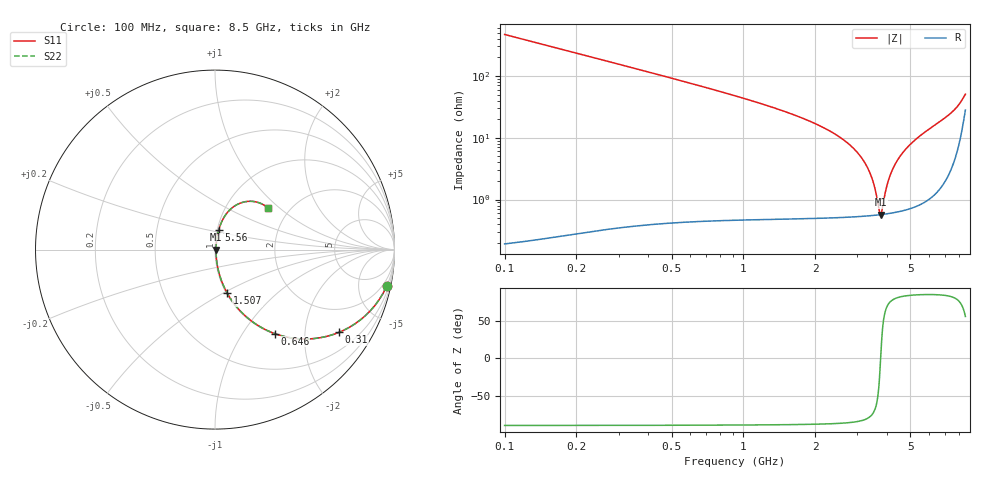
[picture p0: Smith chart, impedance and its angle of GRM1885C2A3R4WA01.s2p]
!Murata Part Number: GRM1885C2A3R4WA01
!These Parameters are Measured in Series Mode Connection
!Data Generated on Mar 30, 2021
!  o--ll--o
!Port1  Port2
!  o------o
!Operation Temp=25[degC], DC Bias Voltage=0[V]
!Freq. Start=100[MHz] Stop=9[GHz] 401[Steps]
# Hz S RI R 50
!Freq.(Hz) S11(Real) S11(Imag) S21(Real) S21(Imag) S12(Real) S12(Imag) S22(Real) S22(Imag)
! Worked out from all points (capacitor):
!   401 points, 100 MHz to 8.5 GHz, reference 50 ohm
!   read as one part in series: C = 3.4 pF near 142 MHz
!   lowest |Z| = 571 mohm at 3.754 GHz (marker M1)
!   series resonance near 3.754 GHz, so ESL is about 530 pH
!   S11 on the Smith chart (normalised r, x): 100 MHz: 1.00, -9.35; 310 MHz: 1.01, -3.00; 646 MHz: 1.01, -1.41; 1.507 GHz: 1.01, -0.52; 5.56 GHz: 1.02, +0.22; 8.5 GHz: 1.56, +0.84
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1e8  0.9562 -0.2044  0.0438 0.2044  0.0438 0.2044  0.9562 -0.2044
2.05e8  0.8378 -0.368  0.1622 0.368  0.1622 0.368  0.8378 -0.368
3.1e8  0.6914 -0.4607  0.3086 0.4607  0.3086 0.4607  0.6914 -0.4607
6.46e8  0.3316 -0.4676  0.6684 0.4676  0.6684 0.4676  0.3316 -0.4676
1.003e9  0.1609 -0.3621  0.8391 0.3621  0.8391 0.3621  0.1609 -0.3621
1.507e9  0.0679 -0.2425  0.9321 0.2425  0.9321 0.2425  0.0679 -0.2425
2.389e9  0.0186 -0.1151  0.9814 0.1151  0.9814 0.1151  0.0186 -0.1151
2.914e9  0.00937 -0.0641  0.9906 0.0641  0.9906 0.0641  0.00937 -0.0641
3.187e9  0.00708 -0.0414  0.9929 0.0414  0.9929 0.0414  0.00708 -0.0414
3.397e9  0.0061 -0.0253  0.9939 0.0253  0.9939 0.0253  0.0061 -0.0253
3.523e9  0.00579 -0.0161  0.9942 0.0161  0.9942 0.0161  0.00579 -0.0161
3.712e9  0.00566 -0.00285  0.9943 0.00285  0.9943 0.00285  0.00566 -0.00285
3.754e9  0.00568 1.96e-05  0.9943 -1.96e-05  0.9943 -1.96e-05  0.00568 1.96e-05
3.796e9  0.00571 0.00286  0.9943 -0.00286  0.9943 -0.00286  0.00571 0.00286
4.027e9  0.00621 0.0181  0.9938 -0.0181  0.9938 -0.0181  0.00621 0.0181
4.3e9  0.00739 0.0352  0.9926 -0.0352  0.9926 -0.0352  0.00739 0.0352
4.804e9  0.0111 0.0652  0.9889 -0.0652  0.9889 -0.0652  0.0111 0.0652
5.56e9  0.0203 0.1081  0.9797 -0.1081  0.9797 -0.1081  0.0203 0.1081
5.707e9  0.0227 0.1164  0.9773 -0.1164  0.9773 -0.1164  0.0227 0.1164
7.114e9  0.0652 0.2019  0.9348 -0.2019  0.9348 -0.2019  0.0652 0.2019
7.912e9  0.1411 0.2591  0.8589 -0.2591  0.8589 -0.2591  0.1411 0.2591
8.5e9  0.2953 0.2319  0.7047 -0.2319  0.7047 -0.2319  0.2953 0.2319
